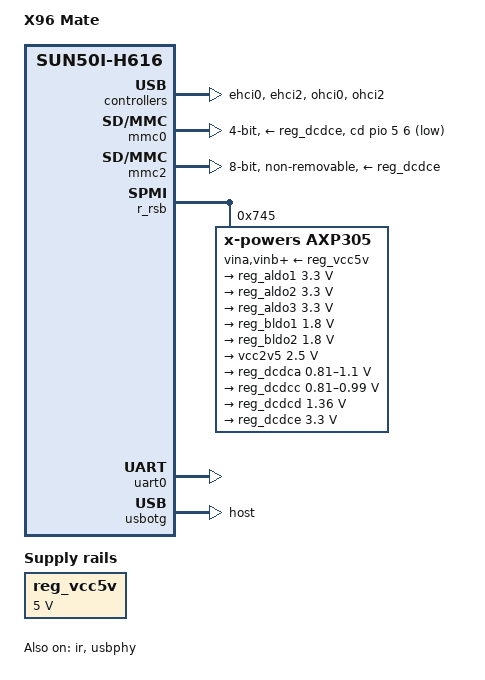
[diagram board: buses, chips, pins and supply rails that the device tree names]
// SPDX-License-Identifier: (GPL-2.0+ OR MIT)
/*
 * Copyright (C) 2021 Arm Ltd.
 */

/dts-v1/;

#include "sun50i-h616.dtsi"

#include <dt-bindings/gpio/gpio.h>
#include <dt-bindings/interrupt-controller/arm-gic.h>

/ {
	model = "X96 Mate";
	compatible = "hechuang,x96-mate", "allwinner,sun50i-h616";

	aliases {
		serial0 = &uart0;
	};

	chosen {
		stdout-path = "serial0:115200n8";
	};

	reg_vcc5v: vcc5v {
		/* board wide 5V supply directly from the DC input */
		compatible = "regulator-fixed";
		regulator-name = "vcc-5v";
		regulator-min-microvolt = <5000000>;
		regulator-max-microvolt = <5000000>;
		regulator-always-on;
	};
};

&ehci0 {
	status = "okay";
};

&ehci2 {
	status = "okay";
};

&ir {
	status = "okay";
};

&mmc0 {
	vmmc-supply = <&reg_dcdce>;
	cd-gpios = <&pio 5 6 GPIO_ACTIVE_LOW>;	/* PF6 */
	bus-width = <4>;
	status = "okay";
};

&mmc2 {
	vmmc-supply = <&reg_dcdce>;
	vqmmc-supply = <&reg_bldo1>;
	bus-width = <8>;
	non-removable;
	cap-mmc-hw-reset;
	mmc-ddr-1_8v;
	mmc-hs200-1_8v;
	status = "okay";
};

&ohci0 {
	status = "okay";
};

&ohci2 {
	status = "okay";
};

&r_rsb {
	status = "okay";

	axp305: pmic@745 {
		compatible = "x-powers,axp305", "x-powers,axp805",
			     "x-powers,axp806";
		interrupt-controller;
		#interrupt-cells = <1>;
		reg = <0x745>;

		x-powers,self-working-mode;
		vina-supply = <&reg_vcc5v>;
		vinb-supply = <&reg_vcc5v>;
		vinc-supply = <&reg_vcc5v>;
		vind-supply = <&reg_vcc5v>;
		vine-supply = <&reg_vcc5v>;
		aldoin-supply = <&reg_vcc5v>;
		bldoin-supply = <&reg_vcc5v>;
		cldoin-supply = <&reg_vcc5v>;

		regulators {
			reg_aldo1: aldo1 {
				regulator-always-on;
				regulator-min-microvolt = <3300000>;
				regulator-max-microvolt = <3300000>;
				regulator-name = "vcc-sys";
			};

			/* Enabled by the Android BSP */
			reg_aldo2: aldo2 {
				regulator-min-microvolt = <3300000>;
				regulator-max-microvolt = <3300000>;
				regulator-name = "vcc3v3-ext";
				status = "disabled";
			};

			/* Enabled by the Android BSP */
			reg_aldo3: aldo3 {
				regulator-min-microvolt = <3300000>;
				regulator-max-microvolt = <3300000>;
				regulator-name = "vcc3v3-ext2";
				status = "disabled";
			};

			reg_bldo1: bldo1 {
				regulator-always-on;
				regulator-min-microvolt = <1800000>;
				regulator-max-microvolt = <1800000>;
				regulator-name = "vcc1v8";
			};

			/* Enabled by the Android BSP */
			reg_bldo2: bldo2 {
				regulator-min-microvolt = <1800000>;
				regulator-max-microvolt = <1800000>;
				regulator-name = "vcc1v8-2";
				status = "disabled";
			};

			bldo3 {
				/* unused */
			};

			bldo4 {
				/* unused */
			};

			cldo1 {
				regulator-min-microvolt = <2500000>;
				regulator-max-microvolt = <2500000>;
				regulator-name = "vcc2v5";
			};

			cldo2 {
				/* unused */
			};

			cldo3 {
				/* unused */
			};

			reg_dcdca: dcdca {
				regulator-always-on;
				regulator-min-microvolt = <810000>;
				regulator-max-microvolt = <1100000>;
				regulator-name = "vdd-cpu";
			};

			reg_dcdcc: dcdcc {
				regulator-always-on;
				regulator-min-microvolt = <810000>;
				regulator-max-microvolt = <990000>;
				regulator-name = "vdd-gpu-sys";
			};

			reg_dcdcd: dcdcd {
				regulator-always-on;
				regulator-min-microvolt = <1360000>;
				regulator-max-microvolt = <1360000>;
				regulator-name = "vdd-dram";
			};

			reg_dcdce: dcdce {
				regulator-always-on;
				regulator-min-microvolt = <3300000>;
				regulator-max-microvolt = <3300000>;
				regulator-name = "vcc-eth-mmc";
			};

			sw {
				/* unused */
			};
		};
	};
};

&uart0 {
	pinctrl-names = "default";
	pinctrl-0 = <&uart0_ph_pins>;
	status = "okay";
};

&usbotg {
	dr_mode = "host";	/* USB A type receptable */
	status = "okay";
};

&usbphy {
	status = "okay";
};
